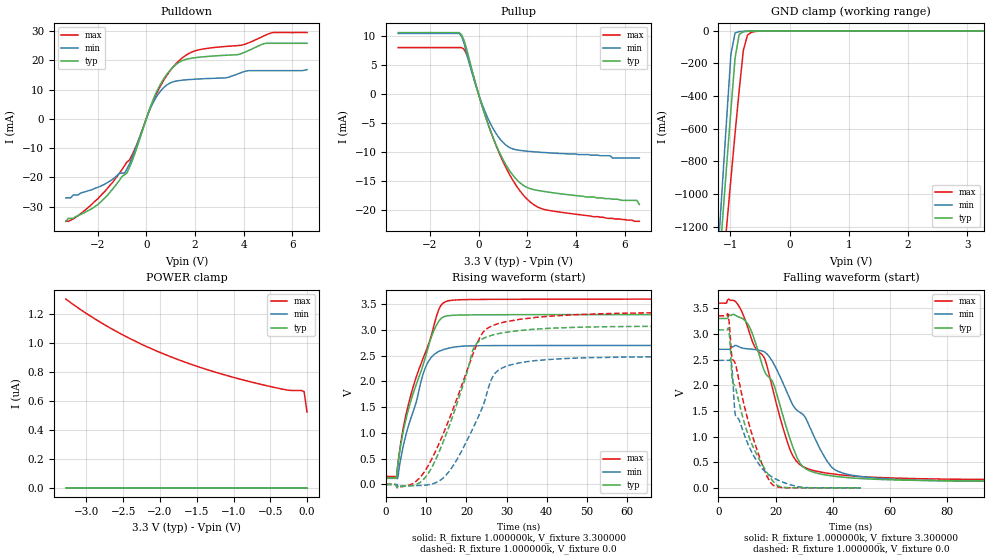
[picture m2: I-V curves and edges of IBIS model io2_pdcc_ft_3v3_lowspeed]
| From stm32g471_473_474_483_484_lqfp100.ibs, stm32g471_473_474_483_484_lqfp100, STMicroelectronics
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|   Model io2_pdcc_ft_3v3_lowspeed
[Model]  io2_pdcc_ft_3v3_lowspeed
Model_type I/O
Polarity   Non-Inverting
Enable   Active-Low
Vinl =   0.990000V
Vinh =   2.310000V
Vmeas =  1.650000V
Cref =   40.000000pF
Rref =   100.000000M
Vref =   0.0V
C_comp   4.843300pF   4.282700pF   5.299100pF
[Temperature Range]   25.000000   -40.000000   0.125000k
[Pullup Reference]   3.300000V   2.700000V   3.600000V
[Pulldown Reference]   0.0V   0.0V   0.0V
[POWER Clamp Reference]   3.300000V   2.700000V   3.600000V
[GND Clamp Reference]   0.0V   0.0V   0.0V
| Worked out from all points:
|   slope of the pulldown table from 0 to 0.495 V, typ, clamps not added: 47.5 ohm
|   slope of the pullup table from 0 to 0.495 V, typ, clamps not added: 77.3 ohm
|   GND clamp passes 1 mA (typ) near -0.58 V on its own axis
|   rising waveform, R_fixture 1.000000k, V_fixture 3.300000: 20-80 % time 6.84ns typ, 5.4ns min, 7.6ns max; typ from 0.128 V to 3.3 V
|   rising waveform, R_fixture 1.000000k, V_fixture 0.0: 20-80 % time 7.97ns typ, 8.23ns min, 9.93ns max; typ from 0 V to 3.08 V
|   falling waveform, R_fixture 1.000000k, V_fixture 3.300000: 20-80 % time 12.4ns typ, 15.4ns min, 12.9ns max; typ from 3.3 V to 0.128 V
|   falling waveform, R_fixture 1.000000k, V_fixture 0.0: 20-80 % time 9.31ns typ, 8.58ns min, 9.49ns max; typ from 3.08 V to 0 V
[Pulldown]
|Voltage   I(typ)   I(min)   I(max)
-3.3V     -35mA      -27mA      -35mA
-2V       -29.4mA    -23.4mA    -27.4mA
-800mV    -18.58mA   -17.27mA   -14.77mA
-400mV    -10.26mA   -9.232mA   -8.958mA
100mV     2.513mA    2.208mA    2.267mA
400mV     8.782mA    7.287mA    8.184mA
800mV     14.68mA    11.26mA    14.27mA
1.3V      19.02mA    12.98mA    19.48mA
2V        20.86mA    13.52mA    23.19mA
3.9V      22.24mA    15.76mA    25.13mA
5.2V      25.78mA    16.44mA    29.44mA
6.6V      25.78mA    16.8mA     29.44mA
[Pullup]
|Voltage   I(typ)   I(min)   I(max)
-3.3V     10.63mA    10.49mA    8.04mA
-800mV    10.63mA    10.49mA    8.04mA
-600mV    9.304mA    8.796mA    7.778mA
-400mV    6.304mA    5.605mA    5.8mA
0V        280fA      0A         4.63nA
600mV     -7.545mA   -5.957mA   -7.567mA
1.2V      -12.7mA    -9.001mA   -13.28mA
1.8V      -15.6mA    -9.729mA   -17.2mA
2.2V      -16.37mA   -9.895mA   -18.84mA
2.7V      -16.77mA   -10.05mA   -19.86mA
6.5V      -18.3mA    -11mA      -21.9mA
6.6V      -19mA      -11mA      -21.9mA
[GND_clamp]
|Voltage   I(typ)   I(min)   I(max)
-3.3V     -9.767A    -9.748A    -9.881A
-1.2V     -1.489A    -1.316A    -1.768A
-1.13V    -1.15A     -919.7mA   -1.477A
-1.06V    -814.4mA   -527.2mA   -1.189A
-990mV    -484.1mA   -143.5mA   -905.3mA
-920mV    -166.2mA   -12.77mA   -627.6mA
-850mV    -21.87mA   -4.511mA   -362mA
-780mV    -5.991mA   -2.83mA    -119.7mA
-710mV    -3.238mA   -1.563mA   -25.44mA
-640mV    -1.838mA   -627.8uA   -8.016mA
-290mV    -1.61uA    0A         -104.4uA
3.28V     0A         0A         431.1nA
[POWER_clamp]
|Voltage   I(typ)   I(min)   I(max)
-3.28V    0A         0A         1.304uA
-2.96V    0A         0A         1.191uA
-2.6V     0A         0A         1.083uA
-2.24V    0A         0A         989.7nA
-1.84V    0A         0A         902.9nA
-1.4V     0A         0A         823.6nA
-880mV    0A         0A         747.1nA
-320mV    0A         0A         680.5nA
-240mV    0A         0A         673.6nA
-80mV     0A         0A         672.6nA
-40mV     0A         0A         665.5nA
0V        0A         0A         524.5nA
[Ramp]
| variable   typ   min   max
dV/dt_r  1.96650/5.75606n   1.60704/5.59808n   2.14475/6.89391n
dV/dt_f  1.97245/9.47040n   1.61310/11.12009n   2.15078/10.08361n
R_load = 10.000000k
[Rising Waveform]
R_fixture= 1.000000k
V_fixture= 3.300000
V_fixture_min= 2.700000
V_fixture_max= 3.600000
|time   V(typ)   V(min)   V(max)
0s        127.8mV    118.3mV    154.8mV
2.603ns   149.3mV    118.7mV    147.5mV
3.003ns   440.6mV    168.9mV    448.4mV
3.604ns   749.8mV    487.5mV    791.1mV
5.205ns   1.355V     1.043V     1.448V
9.61ns    2.425V     2.236V     2.531V
12.21ns   3.045V     2.541V     3.179V
13.61ns   3.217V     2.6V       3.475V
14.81ns   3.267V     2.631V     3.552V
99.7ns    3.3V       2.7V       3.6V
[Rising Waveform]
R_fixture= 1.000000k
V_fixture= 0.0
V_fixture_min= 0.0
V_fixture_max= 0.0
|time   V(typ)   V(min)   V(max)
0s        35.26nV    22.58nV    11.62uV
8.408ns   35.25mV    -19.34mV   132mV
11.11ns   294.2mV    3mV        456.7mV
14.71ns   928mV      163.9mV    1.076V
21.92ns   2.668V     1.141V     2.591V
24.32ns   2.841V     1.568V     2.972V
26.13ns   2.893V     2.025V     3.071V
27.93ns   2.928V     2.217V     3.125V
50.15ns   3.057V     2.461V     3.305V
149.5ns   3.078V     2.485V     3.352V
[Falling Waveform]
R_fixture= 1.000000k
V_fixture= 3.300000
V_fixture_min= 2.700000
V_fixture_max= 3.600000
|time   V(typ)   V(min)   V(max)
0s        3.3V       2.7V       3.6V
6.006ns   3.359V     2.777V     3.627V
10.41ns   3.179V     2.708V     3.098V
16.42ns   2.239V     2.636V     2.481V
19.22ns   2.036V     2.431V     1.873V
25.23ns   925.8mV    1.709V     721.5mV
31.63ns   340.3mV    1.228V     365.9mV
39.64ns   233.4mV    403mV      275.2mV
49.65ns   182.5mV    221.1mV    220.6mV
199.4ns   127.9mV    118.4mV    155mV
[Falling Waveform]
R_fixture= 1.000000k
V_fixture= 0.0
V_fixture_min= 0.0
V_fixture_max= 0.0
|time   V(typ)   V(min)   V(max)
0s        3.078V     2.485V     3.352V
3.303ns   3.106V     2.485V     3.387V
3.904ns   2.932V     2.483V     3.125V
4.404ns   2.464V     2.481V     2.712V
4.905ns   2.066V     2.208V     2.51V
6.006ns   1.94V      1.402V     2.4V
11.11ns   927.4mV    757.7mV    1.159V
18.02ns   212.5mV    240mV      117.1mV
22.72ns   10.61mV    107.4mV    5.58mV
49.85ns   344.1uV    424.4uV    473.2uV
